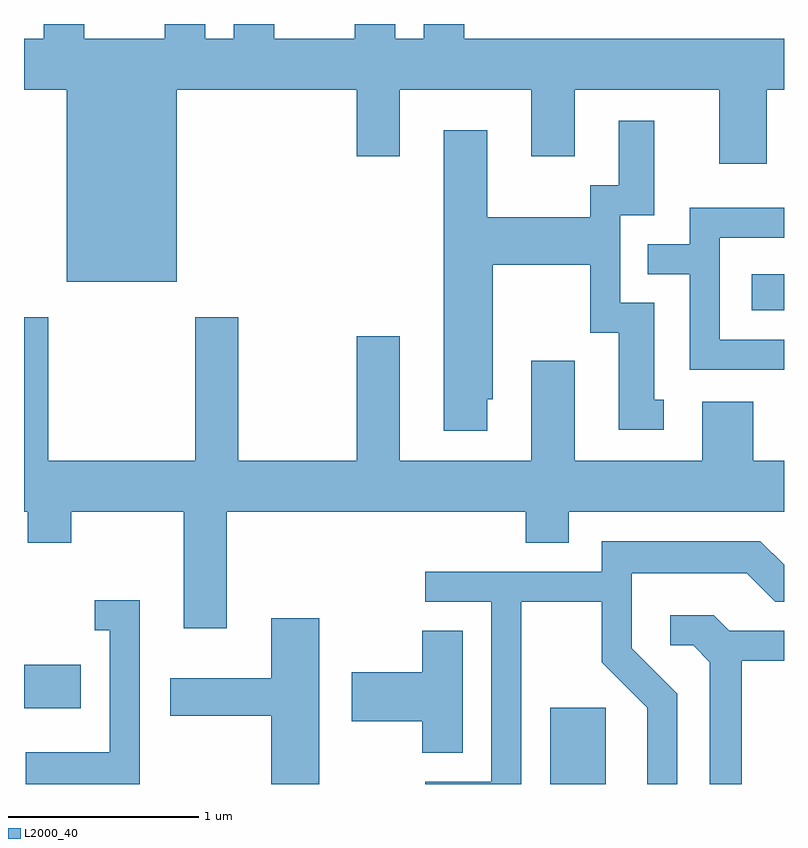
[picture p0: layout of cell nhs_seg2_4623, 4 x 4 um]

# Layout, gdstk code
import gdstk
lib = gdstk.Library(unit=1e-6, precision=1e-09)
def R(c, l, rs):  # rectangles x0, y0, x1, y1
    for r in rs: c.add(gdstk.rectangle(r[:2], r[2:], *l))
def P(c, l, *ps):  # polygons
    for p in ps: c.add(gdstk.Polygon(p, *l))
L2000_40 = (2000, 40)

nhs_seg2_4623 = lib.new_cell('nhs_seg2_4623')
R(nhs_seg2_4623, L2000_40, [(324.381,1015.802,324.674,1016.204), (321.611,1016.201,321.909,1016.429), (325.441,1018.296,325.611,1018.484)])
P(nhs_seg2_4623, L2000_40, [(322.414,1019.456),(323.361,1019.456),(323.361,1019.106),(323.589,1019.106),(323.589,1019.456),(324.281,1019.456),(324.281,1019.106),(324.509,1019.106),(324.509,1019.456),(325.271,1019.456),(325.271,1019.066),(325.519,1019.066),(325.519,1019.456),(325.611,1019.456),(325.611,1019.724),(323.929,1019.724),(323.929,1019.802),(323.716,1019.802),(323.716,1019.724),(323.564,1019.724),(323.564,1019.802),(323.351,1019.802),(323.351,1019.724),(322.929,1019.724),(322.929,1019.802),(322.716,1019.802),(322.716,1019.724),(322.564,1019.724),(322.564,1019.802),(322.351,1019.802),(322.351,1019.724),(321.929,1019.724),(321.929,1019.802),(321.716,1019.802),(321.716,1019.724),(321.611,1019.724),(321.611,1019.456),(321.836,1019.456),(321.836,1018.446),(322.414,1018.446)],
  [(324.049,1017.826),(324.079,1017.826),(324.079,1018.536),(324.591,1018.536),(324.591,1018.176),(324.741,1018.176),(324.741,1017.666),(324.978,1017.666),(324.978,1017.824),(324.929,1017.824),(324.929,1018.334),(324.749,1018.334),(324.749,1018.796),(324.929,1018.796),(324.929,1019.294),(324.741,1019.294),(324.741,1018.954),(324.591,1018.954),(324.591,1018.784),(324.049,1018.784),(324.049,1019.244),(323.821,1019.244),(323.821,1017.661),(324.049,1017.661)],
  [(325.611,1018.139),(325.274,1018.139),(325.274,1018.676),(325.611,1018.676),(325.611,1018.834),(325.116,1018.834),(325.116,1018.644),(324.893,1018.644),(324.893,1018.486),(325.116,1018.486),(325.116,1017.981),(325.611,1017.981)],
  [(322.679,1017.236),(324.251,1017.236),(324.251,1017.071),(324.479,1017.071),(324.479,1017.236),(325.611,1017.236),(325.611,1017.504),(325.449,1017.504),(325.449,1017.814),(325.181,1017.814),(325.181,1017.504),(324.509,1017.504),(324.509,1018.029),(324.281,1018.029),(324.281,1017.504),(323.589,1017.504),(323.589,1018.159),(323.361,1018.159),(323.361,1017.504),(322.739,1017.504),(322.739,1018.259),(322.511,1018.259),(322.511,1017.504),(321.739,1017.504),(321.739,1018.259),(321.611,1018.259),(321.611,1017.236),(321.631,1017.236),(321.631,1017.071),(321.859,1017.071),(321.859,1017.236),(322.451,1017.236),(322.451,1016.621),(322.679,1016.621)],
  [(324.229,1016.761),(324.651,1016.761),(324.651,1016.444),(324.891,1016.204),(324.891,1015.802),(325.049,1015.802),(325.049,1016.277),(324.809,1016.517),(324.809,1016.911),(325.414,1016.911),(325.564,1016.761),(325.611,1016.761),(325.611,1016.955),(325.487,1017.079),(324.651,1017.079),(324.651,1016.919),(323.723,1016.919),(323.723,1016.761),(324.071,1016.761),(324.071,1015.814),(323.723,1015.814),(323.723,1015.802),(324.229,1015.802)],
  [(322.219,1016.769),(321.983,1016.769),(321.983,1016.611),(322.061,1016.611),(322.061,1015.969),(321.621,1015.969),(321.621,1015.802),(322.219,1015.802)],
  [(325.389,1016.451),(325.611,1016.451),(325.611,1016.609),(325.322,1016.609),(325.242,1016.689),(325.013,1016.689),(325.013,1016.531),(325.134,1016.531),(325.221,1016.444),(325.221,1015.802),(325.389,1015.802)],
  [(323.164,1016.674),(322.911,1016.674),(322.911,1016.359),(322.381,1016.359),(322.381,1016.161),(322.911,1016.161),(322.911,1015.802),(323.164,1015.802)],
  [(323.919,1016.609),(323.706,1016.609),(323.706,1016.389),(323.336,1016.389),(323.336,1016.131),(323.706,1016.131),(323.706,1015.966),(323.919,1015.966)])

lib.write_gds('nhs_seg2_4623.gds')
